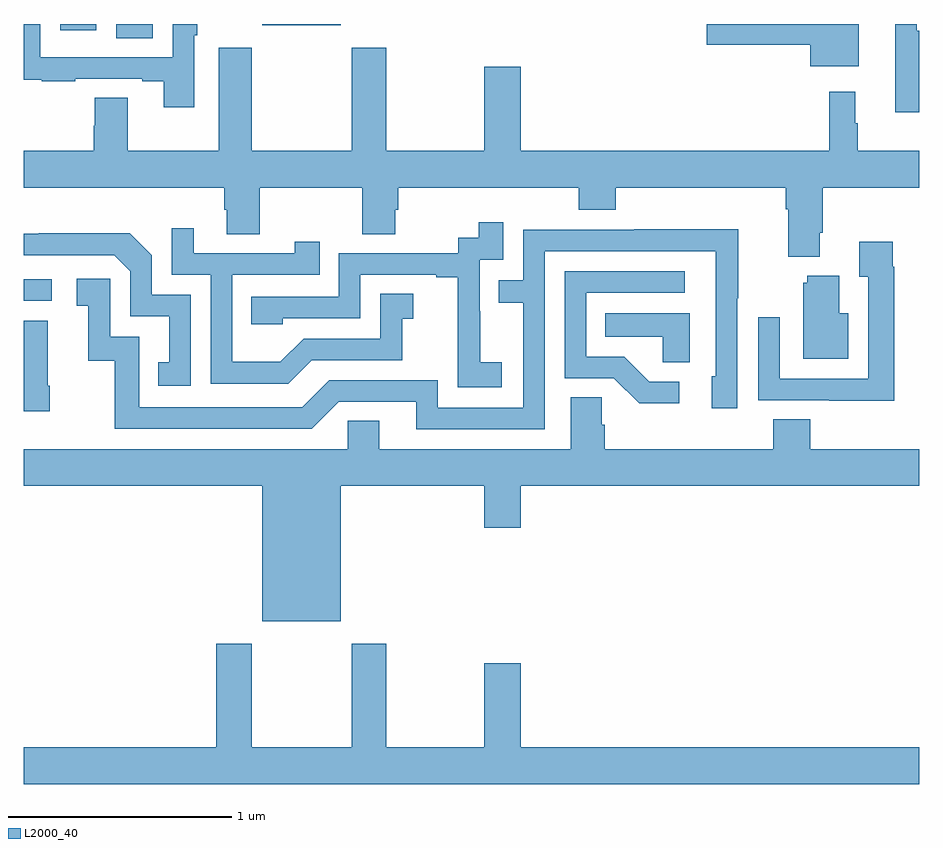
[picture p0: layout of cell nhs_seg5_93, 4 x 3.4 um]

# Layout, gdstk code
import gdstk
lib = gdstk.Library(unit=1e-6, precision=1e-09)
def R(c, l, rs):  # rectangles x0, y0, x1, y1
    for r in rs: c.add(gdstk.rectangle(r[:2], r[2:], *l))
def P(c, l, *ps):  # polygons
    for p in ps: c.add(gdstk.Polygon(p, *l))
L2000_40 = (2000, 40)

nhs_seg5_93 = lib.new_cell('nhs_seg5_93')
R(nhs_seg5_93, L2000_40, [(115,881.562,115.126,881.658), (115.412,882.736,115.576,882.799), (115.163,882.771,115.324,882.799), (116.066,882.794,116.416,882.799)])
P(nhs_seg5_93, L2000_40, [(115.761,882.748),(115.774,882.748),(115.774,882.799),(115.665,882.799),(115.665,882.651),(115.074,882.651),(115.074,882.799),(115,882.799),(115,882.549),(115.081,882.549),(115.081,882.543),(115.229,882.543),(115.229,882.555),(115.529,882.555),(115.529,882.543),(115.625,882.543),(115.625,882.426),(115.761,882.426)],
  [(118.729,882.799),(118.05,882.799),(118.05,882.706),(118.514,882.706),(118.514,882.611),(118.729,882.611)],
  [(119,882.769),(118.989,882.769),(118.989,882.799),(118.892,882.799),(118.892,882.404),(119,882.404)],
  [(118.555,881.866),(118.568,881.866),(118.568,882.068),(119,882.068),(119,882.232),(118.726,882.232),(118.726,882.356),(118.714,882.356),(118.714,882.496),(118.597,882.496),(118.597,882.232),(117.22,882.232),(117.22,882.607),(117.056,882.607),(117.056,882.232),(116.619,882.232),(116.619,882.694),(116.464,882.694),(116.464,882.232),(116.019,882.232),(116.019,882.694),(115.871,882.694),(115.871,882.232),(115.465,882.232),(115.465,882.47),(115.318,882.47),(115.318,882.345),(115.313,882.345),(115.313,882.232),(115,882.232),(115,882.068),(115.895,882.068),(115.895,881.97),(115.907,881.97),(115.907,881.86),(116.055,881.86),(116.055,882.068),(116.512,882.068),(116.512,881.86),(116.659,881.86),(116.659,881.97),(116.672,881.97),(116.672,882.068),(117.479,882.068),(117.479,881.969),(117.644,881.969),(117.644,882.068),(118.403,882.068),(118.403,881.972),(118.415,881.972),(118.415,881.759),(118.555,881.759)],
  [(117.136,881.287),(117.038,881.287),(117.038,881.516),(117.036,881.516),(117.036,881.745),(117.141,881.745),(117.141,881.914),(117.033,881.914),(117.033,881.844),(116.94,881.844),(116.94,881.775),(116.406,881.775),(116.406,881.58),(116.017,881.58),(116.017,881.457),(116.157,881.457),(116.157,881.484),(116.502,881.484),(116.502,881.679),(116.843,881.679),(116.843,881.667),(116.939,881.667),(116.939,881.383),(116.938,881.383),(116.938,881.177),(117.136,881.177)],
  [(116.287,881.298),(116.691,881.298),(116.691,881.483),(116.74,881.483),(116.74,881.593),(116.592,881.593),(116.592,881.394),(116.25,881.394),(116.146,881.29),(115.932,881.29),(115.932,881.679),(116.321,881.679),(116.321,881.827),(116.21,881.827),(116.21,881.775),(115.759,881.775),(115.759,881.887),(115.662,881.887),(115.662,881.679),(115.836,881.679),(115.836,881.193),(116.182,881.193)],
  [(117.327,881.784),(118.092,881.784),(118.092,881.226),(118.073,881.226),(118.073,881.082),(118.188,881.082),(118.188,881.575),(118.191,881.575),(118.191,881.882),(117.727,881.882),(117.727,881.88),(117.231,881.88),(117.231,881.655),(117.121,881.655),(117.121,881.554),(117.231,881.554),(117.231,881.085),(116.85,881.085),(116.85,881.208),(116.364,881.208),(116.244,881.088),(115.515,881.088),(115.515,881.403),(115.386,881.403),(115.386,881.662),(115.236,881.662),(115.236,881.541),(115.289,881.541),(115.289,881.295),(115.407,881.295),(115.407,880.992),(116.286,880.992),(116.406,881.112),(116.753,881.112),(116.753,880.989),(117.327,880.989)],
  [(115.746,881.589),(115.572,881.589),(115.572,881.766),(115.474,881.864),(115.066,881.864),(115.066,881.862),(115,881.862),(115,881.766),(115.404,881.766),(115.476,881.694),(115.476,881.493),(115.649,881.493),(115.649,881.289),(115.6,881.289),(115.6,881.184),(115.746,881.184)],
  [(118.889,881.714),(118.882,881.714),(118.882,881.827),(118.733,881.827),(118.733,881.671),(118.773,881.671),(118.773,881.214),(118.377,881.214),(118.377,881.488),(118.281,881.488),(118.281,881.118),(118.597,881.118),(118.597,881.117),(118.889,881.117)],
  [(117.928,881.202),(117.793,881.202),(117.682,881.313),(117.513,881.313),(117.513,881.598),(117.952,881.598),(117.952,881.694),(117.417,881.694),(117.417,881.217),(117.636,881.217),(117.749,881.105),(117.928,881.105)],
  [(118.684,881.506),(118.642,881.506),(118.642,881.674),(118.499,881.674),(118.499,881.643),(118.481,881.643),(118.481,881.303),(118.684,881.303)],
  [(117.976,881.506),(117.598,881.506),(117.598,881.402),(117.855,881.402),(117.855,881.287),(117.976,881.287)],
  [(115.116,881.182),(115.108,881.182),(115.108,881.473),(115,881.473),(115,881.07),(115.116,881.07)],
  [(116.416,880.736),(117.056,880.736),(117.056,880.548),(117.22,880.548),(117.22,880.736),(119,880.736),(119,880.9),(118.514,880.9),(118.514,881.033),(118.349,881.033),(118.349,880.9),(117.596,880.9),(117.596,881.009),(117.582,881.009),(117.582,881.132),(117.443,881.132),(117.443,880.9),(116.587,880.9),(116.587,881.027),(116.448,881.027),(116.448,880.9),(115,880.9),(115,880.736),(116.066,880.736),(116.066,880.13),(116.416,880.13)],
  [(119,879.568),(117.22,879.568),(117.22,879.943),(117.056,879.943),(117.056,879.568),(116.619,879.568),(116.619,880.03),(116.464,880.03),(116.464,879.568),(116.019,879.568),(116.019,880.03),(115.859,880.03),(115.859,879.568),(115,879.568),(115,879.404),(119,879.404)])

lib.write_gds('nhs_seg5_93.gds')
